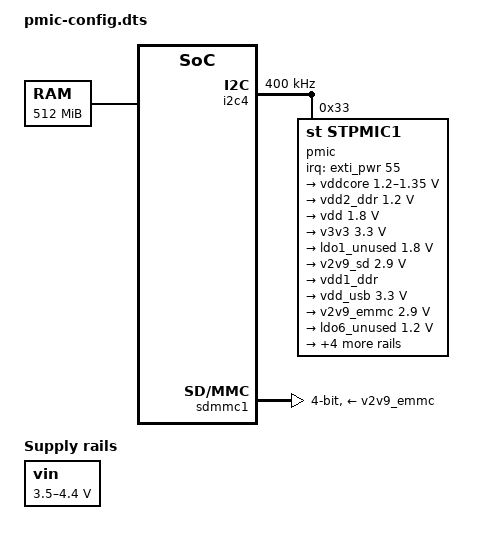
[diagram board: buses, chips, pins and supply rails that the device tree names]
/ {
	memory@c0000000 {
		device_type = "memory";
		reg = <0xc0000000 0x20000000>;
	};

	vin: vin {
		compatible = "regulator-fixed";
		regulator-name = "vin";
		regulator-min-microvolt = <3500000>;
		regulator-max-microvolt = <4400000>;
		regulator-always-on;
	};
};

&pwr_regulators {
	vdd-supply = <&vdd>;
	vdd_3v3_usbfs-supply = <&vdd_usb>;
};

&i2c4 {
	pinctrl-names = "default";
	pinctrl-0 = <&i2c4_pins_a>;
	i2c-scl-rising-time-ns = <185>;
	i2c-scl-falling-time-ns = <20>;
	clock-frequency = <400000>;
	status = "okay";

	pmic: stpmic@33 {
		compatible = "st,stpmic1";
		reg = <0x33>;
		interrupts-extended = <&exti_pwr 55 IRQ_TYPE_EDGE_FALLING>;
		interrupt-controller;
		#interrupt-cells = <2>;
		status = "okay";

		regulators {
			compatible = "st,stpmic1-regulators";
			buck1-supply = <&vin>;
			buck2-supply = <&vin>;
			buck3-supply = <&vin>;
			buck4-supply = <&vin>;
			ldo1-supply = <&v3v3>;
			ldo2-supply = <&v3v3>;
			ldo3-supply = <&vdd>;
			ldo4-supply = <&vin>;
			ldo5-supply = <&v3v3>;
			ldo6-supply = <&v3v3>;
			vref_ddr-supply = <&vin>;
			boost-supply = <&vin>;
			pwr_sw1-supply = <&bst_out>;
			pwr_sw2-supply = <&bst_out>;

			vddcore: buck1 {
				regulator-name = "vddcore";
				regulator-min-microvolt = <1200000>;
				regulator-max-microvolt = <1350000>;
				regulator-always-on;
				regulator-initial-mode = <0>;
				regulator-over-current-protection;
			};

			vdd2_ddr: buck2 {
				regulator-name = "vdd2_ddr";
				regulator-min-microvolt = <1200000>;
				regulator-max-microvolt = <1200000>;
				regulator-always-on;
				regulator-initial-mode = <0>;
				regulator-over-current-protection;
			};

			vdd: buck3 {
				regulator-name = "vdd";
				regulator-min-microvolt = <1800000>;
				regulator-max-microvolt = <1800000>;
				regulator-always-on;
				st,mask-reset;
				regulator-initial-mode = <0>;
				regulator-over-current-protection;
			};

			v3v3: buck4 {
				regulator-name = "v3v3";
				regulator-min-microvolt = <3300000>;
				regulator-max-microvolt = <3300000>;
				regulator-always-on;
				regulator-over-current-protection;
				regulator-initial-mode = <0>;
			};

			ldo1_unused: ldo1 {
				regulator-name = "ldo1_unused";
				regulator-min-microvolt = <1800000>;
				regulator-max-microvolt = <1800000>;
				regulator-always-on;
			};

			v2v9_sd: ldo2 {
				regulator-name = "v2v9_sd";
				regulator-min-microvolt = <2900000>;
				regulator-max-microvolt = <2900000>;
				regulator-always-on;
			};

			vdd1_ddr: ldo3 {
				regulator-name = "vdd1_ddr";
				regulator-always-on;
				regulator-over-current-protection;
				st,regulator-bypass;
			};

			vdd_usb: ldo4 {
				regulator-name = "vdd_usb";
				regulator-min-microvolt = <3300000>;
				regulator-max-microvolt = <3300000>;
			};

			v2v9_emmc: ldo5 {
				regulator-name = "v2v9_emmc";
				regulator-min-microvolt = <2900000>;
				regulator-max-microvolt = <2900000>;
				regulator-always-on;
			};

			ldo6_unused: ldo6 {
				regulator-name = "ldo6_unused";
				regulator-min-microvolt = <1200000>;
				regulator-max-microvolt = <1200000>;
				regulator-always-on;
			};

			vref_ddr: vref_ddr {
				regulator-name = "vref_ddr";
				regulator-always-on;
			};

			bst_out: boost {
				regulator-name = "bst_out";
			};

			vbus_otg: pwr_sw1 {
				regulator-name = "vbus_otg";
			};

			vbus_sw: pwr_sw2 {
				regulator-name = "vbus_sw";
				regulator-active-discharge = <1>;
			};
		};
	};
};

&sdmmc1 {
	pinctrl-names = "default";
	pinctrl-0 = <&sdmmc1_b4_pins_a>;
	disable-wp;
	st,neg-edge;
	bus-width = <4>;
	vmmc-supply = <&v2v9_emmc>;
	status = "okay";
};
